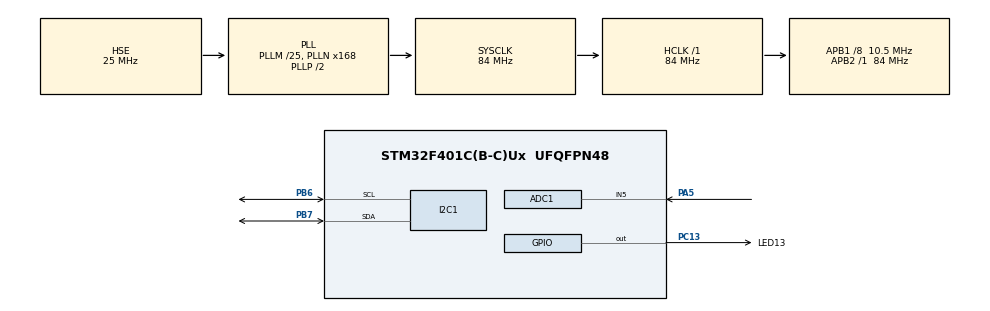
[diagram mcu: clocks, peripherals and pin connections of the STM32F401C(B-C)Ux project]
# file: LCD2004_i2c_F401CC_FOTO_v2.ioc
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ADC1.Channel-0\#ChannelRegularConversion=ADC_CHANNEL_5
ADC1.ExternalTrigConv=ADC_EXTERNALTRIGCONV_T2_TRGO
ADC1.NbrOfConversionFlag=1
ADC1.Rank-0\#ChannelRegularConversion=1
ADC1.SamplingTime-0\#ChannelRegularConversion=ADC_SAMPLETIME_3CYCLES
ADC1.master=1
I2C1.I2C_Mode=I2C_Fast
Mcu.Family=STM32F4
Mcu.Name=STM32F401C(B-C)Ux
Mcu.Package=UFQFPN48
NVIC.ADC_IRQn=true\:0\:0\:false\:false\:true\:true\:true\:true
NVIC.PriorityGroup=NVIC_PRIORITYGROUP_4
NVIC.TIM2_IRQn=true\:0\:0\:false\:false\:true\:true\:true\:true
PA13.Mode=Serial_Wire
PA13.Signal=SYS_JTMS-SWDIO
PA14.Mode=Serial_Wire
PA14.Signal=SYS_JTCK-SWCLK
PA5.Signal=ADCx_IN5
PB6.Mode=I2C
PB6.Signal=I2C1_SCL
PB7.Mode=I2C
PB7.Signal=I2C1_SDA
PC13-ANTI_TAMP.GPIO_Label=LED13
PC13-ANTI_TAMP.Signal=GPIO_Output
PC14-OSC32_IN.Mode=LSE-External-Oscillator
PC14-OSC32_IN.Signal=RCC_OSC32_IN
PC15-OSC32_OUT.Mode=LSE-External-Oscillator
PC15-OSC32_OUT.Signal=RCC_OSC32_OUT
PH0\ -\ OSC_IN.Mode=HSE-External-Oscillator
PH0\ -\ OSC_IN.Signal=RCC_OSC_IN
PH1\ -\ OSC_OUT.Mode=HSE-External-Oscillator
PH1\ -\ OSC_OUT.Signal=RCC_OSC_OUT
ProjectManager.HeapSize=0x200
ProjectManager.StackSize=0x400
ProjectManager.TargetToolchain=STM32CubeIDE
RCC.48MHZClocksFreq_Value=42000000
RCC.AHBFreq_Value=84000000
RCC.APB1CLKDivider=RCC_HCLK_DIV8
RCC.APB1Freq_Value=10500000
RCC.APB1TimFreq_Value=21000000
RCC.APB2Freq_Value=84000000
RCC.APB2TimFreq_Value=84000000
RCC.CortexFreq_Value=84000000
RCC.HCLKFreq_Value=84000000
RCC.HSE_VALUE=25000000
RCC.HSI_VALUE=16000000
RCC.PLLM=25
RCC.PLLN=168
RCC.PLLSourceVirtual=RCC_PLLSOURCE_HSE
RCC.SYSCLKFreq_VALUE=84000000
RCC.SYSCLKSource=RCC_SYSCLKSOURCE_PLLCLK
RCC.VCOOutputFreq_Value=168000000
SH.ADCx_IN5.0=ADC1_IN5,IN5
TIM2.Period=3000
TIM2.Prescaler=20999
VP_TIM2_VS_ClockSourceINT.Mode=Internal
board=custom

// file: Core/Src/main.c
/* USER CODE BEGIN Header */
/**
  ******************************************************************************
  * @file           : main.c
  * @brief          : Main program body
  ******************************************************************************
  * @attention
  *
  * Copyright (c) 2022 STMicroelectronics.
  * All rights reserved.
  *
  * This software is licensed under terms that can be found in the LICENSE file
  * in the root directory of this software component.
  * If no LICENSE file comes with this software, it is provided AS-IS.
  *
  ******************************************************************************
  */
/* USER CODE END Header */
#include "main.h"

/* USER CODE BEGIN Includes */
#include <string.h>
#include <stdarg.h>
#include <stdbool.h>
#include <stdio.h>
#include "lcd1602_i2c_lib.h"
//#include "grid22_numer.h"
/* USER CODE END Includes */

/* USER CODE BEGIN PTD */
///* Photocell vars */
//uint32_t Pht_R;
//float Pht_Div;
//float Pht_Temp;
//uint32_t Pht_Lux;
//#define PHT_UP_R 10000.0F
//#define PHT_10LX_R 50000.0F
//#define PHT_GAMMA 0.8F
///* ADC vars */
//uint16_t ADC_Raw[1];
///* Sheduler vars */
//uint8_t Sch_100ms = 255;
//grid22
extern char lcd1602_tx_buffer[40] ;
char str[100] ;
uint16_t i = 0 ;
//char str[9] ;
char strv[9] ;
float v = 0.00 ;

/* USER CODE END PTD */

ADC_HandleTypeDef hadc1;

I2C_HandleTypeDef hi2c1;

TIM_HandleTypeDef htim2;

void SystemClock_Config(void);
static void MX_GPIO_Init(void);
static void MX_ADC1_Init(void);
static void MX_I2C1_Init(void);
static void MX_TIM2_Init(void);

/* USER CODE BEGIN 0 */
///************** timer 2 irqhandler *************/
//void HAL_TIM_PeriodElapsedCallback(TIM_HandleTypeDef *htim)
//{
// if(htim->Instance == TIM2)
//	{
//		/* set every 100ms */
//		Sch_100ms = 255;
//	}
//}
/* USER CODE END 0 */

int main(void)
{

  /* MCU Configuration--------------------------------------------------------*/

  /* Reset of all peripherals, Initializes the Flash interface and the Systick. */
  HAL_Init();

  /* Configure the system clock */
  SystemClock_Config();

  /* Initialize all configured peripherals */
  MX_GPIO_Init();
  MX_ADC1_Init();
  MX_I2C1_Init();
  MX_TIM2_Init();
  /* USER CODE BEGIN 2 */
	HAL_Delay(100) ;
	lcd1602_Init();
//	lcd_symbol_creat() ;

	lcd1602_Backlight(1) ;
	lcd1602_SetCursor(0, 0) ;
	lcd1602_Print_text("Hello World!") ;
	lcd1602_SetCursor(0, 1) ;
	lcd1602_Print_text("F401CC_FOTO_V2") ;

	HAL_TIM_Base_Start_IT(&htim2) ;
	HAL_ADC_Start(&hadc1) ;
	HAL_Delay(1500);
	lcd1602_Clear() ;
//  /* adc calibration */
////  HAL_ADCEx_Calibration_Start(&hadc1);
//  /* adc start */
//  HAL_ADC_Start_DMA(&hadc1, (uint32_t*)ADC_Raw, 1);
//  HAL_ADC_Start_IT(&hadc1);
//  /* timer 4 start it (100ms) */
//  HAL_TIM_Base_Start_IT(&htim2);
  /* USER CODE END 2 */

  /* Infinite loop */
  /* USER CODE BEGIN WHILE */
  while (1)
  {
	      HAL_ADC_PollForConversion(&hadc1, 100) ;
	  	  i = HAL_ADC_GetValue(&hadc1) ;
	  	  HAL_ADC_Stop(&hadc1) ;
	  	  lcd1602_SetCursor(0, 2) ;
	  	  v = ((float)i*3)/4096 ;
	  	  sprintf(str, "i = %04d", i) ;
	  	  sprintf(strv, "U = %.2f V", v) ;
	  	  lcd1602_Print_text(str) ;
	  	  lcd1602_SetCursor(0, 3) ;
	  	  lcd1602_Print_text(strv) ;
	  	  HAL_Delay(100) ;
//	  if(Sch_100ms)
//	  {
//	  /* get adc value */
//	  HAL_ADC_Start_IT(&hadc1);
//	  /* calc photoresistor resistance */
//	  Pht_R = ((PHT_UP_R)/((4095.0)/(ADC_Raw[0])-1));
//	  /* internim calcs */
//	  Pht_Div = PHT_10LX_R/Pht_R;
//	  Pht_Temp = ((0.42*log(Pht_Div))/(PHT_GAMMA)) + 1;
//	  /* illuminance calc */
//	  Pht_Lux = pow(10, Pht_Temp);
//	  /* nulify */
//	  Sch_100ms = 0;
//	  sprintf(str, "Pht_Lux %d", Pht_Lux) ;
//	  lcd1602_SetCursor(0, 0) ;
//	  lcd1602_Print_text(str) ;
//	  sprintf(str, "Pht_Div %d", Pht_Div) ;
//	  lcd1602_SetCursor(0, 1) ;
//	  lcd1602_Print_text(str) ;
//	  sprintf(str, "Pht_R   %d", Pht_R) ;
//	  lcd1602_SetCursor(0, 2) ;
//	  lcd1602_Print_text(str) ;
//	  }

    /* USER CODE END WHILE */

  }
}

void SystemClock_Config(void)
{
  RCC_OscInitTypeDef RCC_OscInitStruct = {0};
  RCC_ClkInitTypeDef RCC_ClkInitStruct = {0};

  /** Configure the main internal regulator output voltage
  */
  __HAL_RCC_PWR_CLK_ENABLE();
  __HAL_PWR_VOLTAGESCALING_CONFIG(PWR_REGULATOR_VOLTAGE_SCALE2);

  /** Initializes the RCC Oscillators according to the specified parameters
  * in the RCC_OscInitTypeDef structure.
  */
  RCC_OscInitStruct.OscillatorType = RCC_OSCILLATORTYPE_HSE;
  RCC_OscInitStruct.HSEState = RCC_HSE_ON;
  RCC_OscInitStruct.PLL.PLLState = RCC_PLL_ON;
  RCC_OscInitStruct.PLL.PLLSource = RCC_PLLSOURCE_HSE;
  RCC_OscInitStruct.PLL.PLLM = 25;
  RCC_OscInitStruct.PLL.PLLN = 168;
  RCC_OscInitStruct.PLL.PLLP = RCC_PLLP_DIV2;
  RCC_OscInitStruct.PLL.PLLQ = 4;
  if (HAL_RCC_OscConfig(&RCC_OscInitStruct) != HAL_OK)
  {
    Error_Handler();
  }

  /** Initializes the CPU, AHB and APB buses clocks
  */
  RCC_ClkInitStruct.ClockType = RCC_CLOCKTYPE_HCLK|RCC_CLOCKTYPE_SYSCLK
                              |RCC_CLOCKTYPE_PCLK1|RCC_CLOCKTYPE_PCLK2;
  RCC_ClkInitStruct.SYSCLKSource = RCC_SYSCLKSOURCE_PLLCLK;
  RCC_ClkInitStruct.AHBCLKDivider = RCC_SYSCLK_DIV1;
  RCC_ClkInitStruct.APB1CLKDivider = RCC_HCLK_DIV8;
  RCC_ClkInitStruct.APB2CLKDivider = RCC_HCLK_DIV1;

  if (HAL_RCC_ClockConfig(&RCC_ClkInitStruct, FLASH_LATENCY_2) != HAL_OK)
  {
    Error_Handler();
  }
}

static void MX_ADC1_Init(void)
{

  ADC_ChannelConfTypeDef sConfig = {0};

  /** Configure the global features of the ADC (Clock, Resolution, Data Alignment and number of conversion)
  */
  hadc1.Instance = ADC1;
  hadc1.Init.ClockPrescaler = ADC_CLOCK_SYNC_PCLK_DIV4;
  hadc1.Init.Resolution = ADC_RESOLUTION_12B;
  hadc1.Init.ScanConvMode = DISABLE;
  hadc1.Init.ContinuousConvMode = DISABLE;
  hadc1.Init.DiscontinuousConvMode = DISABLE;
  hadc1.Init.ExternalTrigConvEdge = ADC_EXTERNALTRIGCONVEDGE_RISING;
  hadc1.Init.ExternalTrigConv = ADC_EXTERNALTRIGCONV_T2_TRGO;
  hadc1.Init.DataAlign = ADC_DATAALIGN_RIGHT;
  hadc1.Init.NbrOfConversion = 1;
  hadc1.Init.DMAContinuousRequests = DISABLE;
  hadc1.Init.EOCSelection = ADC_EOC_SINGLE_CONV;
  if (HAL_ADC_Init(&hadc1) != HAL_OK)
  {
    Error_Handler();
  }

  /** Configure for the selected ADC regular channel its corresponding rank in the sequencer and its sample time.
  */
  sConfig.Channel = ADC_CHANNEL_5;
  sConfig.Rank = 1;
  sConfig.SamplingTime = ADC_SAMPLETIME_3CYCLES;
  if (HAL_ADC_ConfigChannel(&hadc1, &sConfig) != HAL_OK)
  {
    Error_Handler();
  }

}

static void MX_I2C1_Init(void)
{

  hi2c1.Instance = I2C1;
  hi2c1.Init.ClockSpeed = 400000;
  hi2c1.Init.DutyCycle = I2C_DUTYCYCLE_2;
  hi2c1.Init.OwnAddress1 = 0;
  hi2c1.Init.AddressingMode = I2C_ADDRESSINGMODE_7BIT;
  hi2c1.Init.DualAddressMode = I2C_DUALADDRESS_DISABLE;
  hi2c1.Init.OwnAddress2 = 0;
  hi2c1.Init.GeneralCallMode = I2C_GENERALCALL_DISABLE;
  hi2c1.Init.NoStretchMode = I2C_NOSTRETCH_DISABLE;
  if (HAL_I2C_Init(&hi2c1) != HAL_OK)
  {
    Error_Handler();
  }

}

static void MX_TIM2_Init(void)
{

  TIM_ClockConfigTypeDef sClockSourceConfig = {0};
  TIM_MasterConfigTypeDef sMasterConfig = {0};

  htim2.Instance = TIM2;
  htim2.Init.Prescaler = 20999;
  htim2.Init.CounterMode = TIM_COUNTERMODE_UP;
  htim2.Init.Period = 3000;
  htim2.Init.ClockDivision = TIM_CLOCKDIVISION_DIV1;
  htim2.Init.AutoReloadPreload = TIM_AUTORELOAD_PRELOAD_DISABLE;
  if (HAL_TIM_Base_Init(&htim2) != HAL_OK)
  {
    Error_Handler();
  }
  sClockSourceConfig.ClockSource = TIM_CLOCKSOURCE_INTERNAL;
  if (HAL_TIM_ConfigClockSource(&htim2, &sClockSourceConfig) != HAL_OK)
  {
    Error_Handler();
  }
  sMasterConfig.MasterOutputTrigger = TIM_TRGO_RESET;
  sMasterConfig.MasterSlaveMode = TIM_MASTERSLAVEMODE_DISABLE;
  if (HAL_TIMEx_MasterConfigSynchronization(&htim2, &sMasterConfig) != HAL_OK)
  {
    Error_Handler();
  }

}

static void MX_GPIO_Init(void)
{
  GPIO_InitTypeDef GPIO_InitStruct = {0};

  /* GPIO Ports Clock Enable */
  __HAL_RCC_GPIOC_CLK_ENABLE();
  __HAL_RCC_GPIOH_CLK_ENABLE();
  __HAL_RCC_GPIOA_CLK_ENABLE();
  __HAL_RCC_GPIOB_CLK_ENABLE();

  /*Configure GPIO pin Output Level */
  HAL_GPIO_WritePin(LED13_GPIO_Port, LED13_Pin, GPIO_PIN_RESET);

  /*Configure GPIO pin : LED13_Pin */
  GPIO_InitStruct.Pin = LED13_Pin;
  GPIO_InitStruct.Mode = GPIO_MODE_OUTPUT_PP;
  GPIO_InitStruct.Pull = GPIO_NOPULL;
  GPIO_InitStruct.Speed = GPIO_SPEED_FREQ_LOW;
  HAL_GPIO_Init(LED13_GPIO_Port, &GPIO_InitStruct);

}

/* USER CODE BEGIN 4 */
void HAL_TIM_PeriodElapsedCallback (TIM_HandleTypeDef * htim2){
	HAL_GPIO_TogglePin(LED13_GPIO_Port, LED13_Pin ) ;
}

/* USER CODE END 4 */

void Error_Handler(void)
{
  __disable_irq();
  while (1)
  {
  }
}
